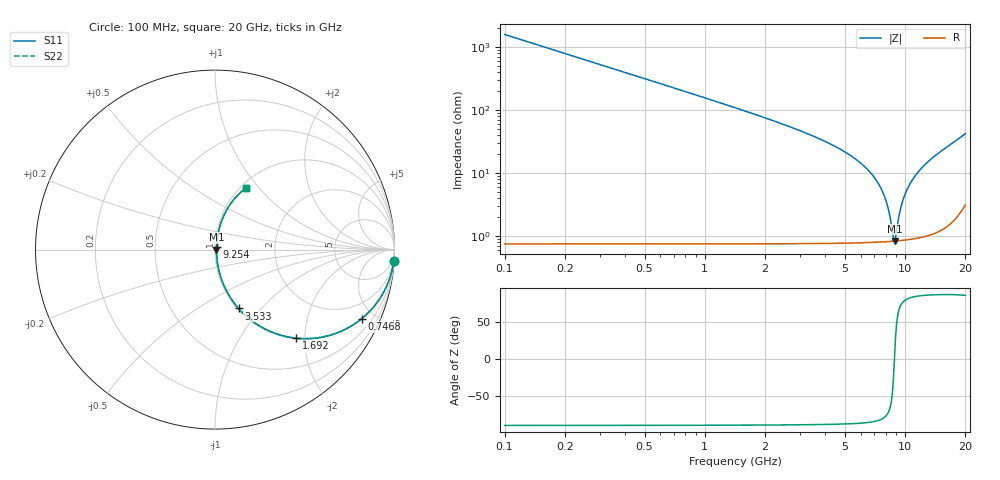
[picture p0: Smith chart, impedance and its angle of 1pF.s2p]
!Murata Part Number: GRM0335C1E1R0WA01
!These Parameters are Measured in Series Mode Connection
!  o--ll--o
!Port1  Port2
!  o------o
!Operation Temp=25[degC], DC Bias Voltage=0[V]
!Freq. Start=100[MHz] Stop=20[GHz], 401[Steps]
!Data Generated on Jan 10, 2017
# Hz S RI R 50
!Freq.(Hz) S11(Real) S11(Imag) S21(Real) S21(Imag) S12(Real) S12(Imag) S22(Real) S22(Imag)
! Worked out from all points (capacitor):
!   401 points, 100 MHz to 20 GHz, reference 50 ohm
!   read as one part in series: C = 1 pF near 199.5 MHz
!   lowest |Z| = 840 mohm at 8.856 GHz (marker M1)
!   series resonance near 8.845 GHz, so ESL is about 320 pH
!   S11 on the Smith chart (normalised r, x): 100 MHz: 1, -32; 746.8 MHz: 1.02, -4.23; 1.692 GHz: 1.02, -1.81; 3.533 GHz: 1.02, -0.76; 9.254 GHz: 1.02, +0.03; 20 GHz: 1.06, +0.85
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1e8  0.996 -0.0626  0.00396 0.0626  0.00396 0.0626  0.996 -0.0626
2.99e8  0.9656 -0.1816  0.0344 0.1816  0.0344 0.1816  0.9656 -0.1816
3.985e8  0.9404 -0.2358  0.0596 0.2358  0.0596 0.2358  0.9404 -0.2358
7.4675e8  0.8166 -0.3852  0.1834 0.3852  0.1834 0.3852  0.8166 -0.3852
1.1945e9  0.6306 -0.4797  0.3694 0.4797  0.3694 0.4797  0.6306 -0.4797
1.692e9  0.4518 -0.4935  0.5482 0.4935  0.5482 0.4935  0.4518 -0.4935
2.488e9  0.2611 -0.4328  0.7389 0.4328  0.7389 0.4328  0.2611 -0.4328
3.43325e9  0.1399 -0.3373  0.8601 0.3373  0.8601 0.3373  0.1399 -0.3373
3.53275e9  0.1312 -0.3277  0.8688 0.3277  0.8688 0.3277  0.1312 -0.3277
6.7665e9  0.0174 -0.0965  0.9826 0.0965  0.9826 0.0965  0.0174 -0.0965
7.9605e9  0.00959 -0.0381  0.9904 0.0381  0.9904 0.0381  0.00959 -0.0381
8.3585e9  0.00863 -0.0205  0.9914 0.0205  0.9914 0.0205  0.00863 -0.0205
8.7565e9  0.00831 -0.00366  0.9917 0.00366  0.9917 0.00366  0.00831 -0.00366
8.856e9  0.00832 0.000444  0.9917 -0.000444  0.9917 -0.000444  0.00832 0.000444
8.9555e9  0.00837 0.00451  0.9916 -0.00451  0.9916 -0.00451  0.00837 0.00451
9.254e9  0.0087 0.0165  0.9913 -0.0165  0.9913 -0.0165  0.0087 0.0165
9.60225e9  0.00943 0.03  0.9906 -0.03  0.9906 -0.03  0.00943 0.03
1.005e10  0.0109 0.0468  0.9891 -0.0468  0.9891 -0.0468  0.0109 0.0468
1.13435e10  0.0178 0.0923  0.9822 -0.0923  0.9822 -0.0923  0.0178 0.0923
1.338325e10  0.036 0.1571  0.964 -0.1571  0.964 -0.1571  0.036 0.1571
1.67165e10  0.0851 0.2529  0.9149 -0.2529  0.9149 -0.2529  0.0851 0.2529
2e10  0.1715 0.3418  0.8285 -0.3418  0.8285 -0.3418  0.1715 0.3418
